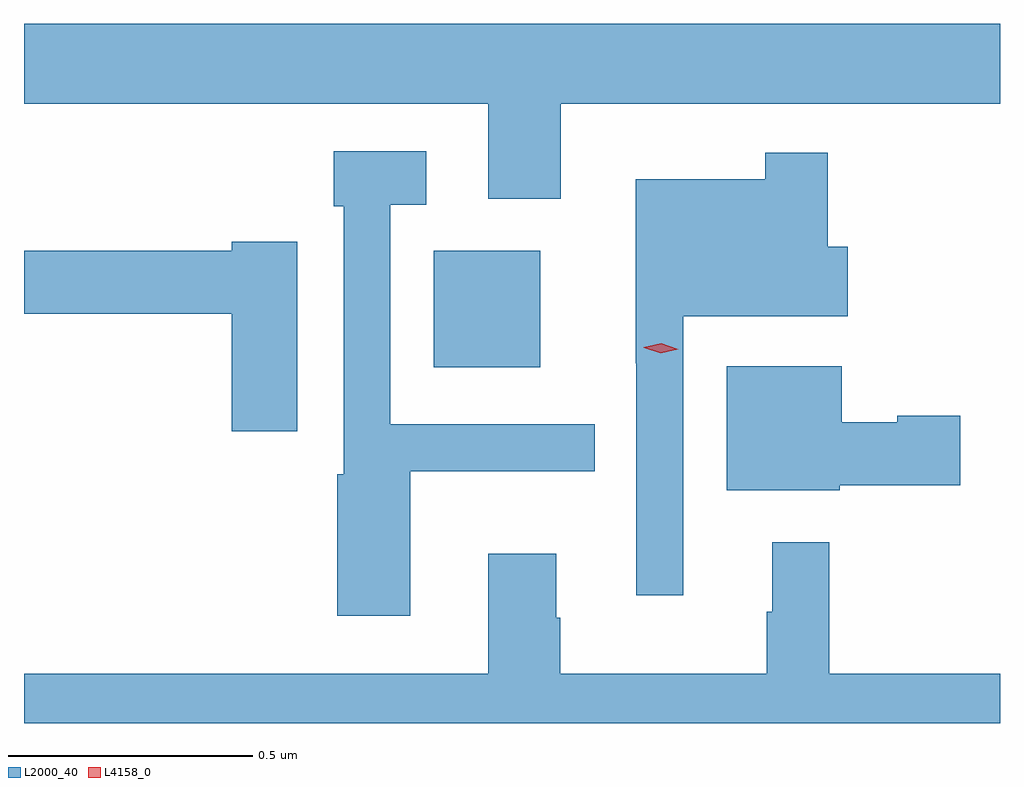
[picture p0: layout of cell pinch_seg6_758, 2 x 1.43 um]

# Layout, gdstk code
import gdstk
lib = gdstk.Library(unit=1e-6, precision=1e-09)
def R(c, l, rs):  # rectangles x0, y0, x1, y1
    for r in rs: c.add(gdstk.rectangle(r[:2], r[2:], *l))
def P(c, l, *ps):  # polygons
    for p in ps: c.add(gdstk.Polygon(p, *l))
L2000_40 = (2000, 40)
L4158_0 = (4158, 0)

pinch_seg6_758 = lib.new_cell('pinch_seg6_758')
R(pinch_seg6_758, L2000_40, [(505.646,945.464,505.864,945.703)])
P(pinch_seg6_758, L2000_40, [(505.906,946.004),(506.806,946.004),(506.806,946.168),(504.806,946.168),(504.806,946.004),(505.757,946.004),(505.757,945.81),(505.906,945.81)],
  [(505.597,945.251),(505.976,945.251),(505.976,945.348),(505.557,945.348),(505.557,945.797),(505.63,945.797),(505.63,945.907),(505.441,945.907),(505.441,945.794),(505.461,945.794),(505.461,945.245),(505.448,945.245),(505.448,944.955),(505.597,944.955)],
  [(506.157,945.569),(506.494,945.569),(506.494,945.711),(506.453,945.711),(506.453,945.904),(506.325,945.904),(506.325,945.85),(506.06,945.85),(506.06,945.473),(506.061,945.473),(506.061,944.997),(506.157,944.997)],
  [(505.366,945.721),(505.232,945.721),(505.232,945.703),(504.806,945.703),(504.806,945.574),(505.232,945.574),(505.232,945.333),(505.366,945.333)],
  [(506.478,945.223),(506.725,945.223),(506.725,945.365),(506.595,945.365),(506.595,945.352),(506.482,945.352),(506.482,945.466),(506.246,945.466),(506.246,945.212),(506.478,945.212)],
  [(506.806,944.836),(506.456,944.836),(506.456,945.106),(506.339,945.106),(506.339,944.963),(506.328,944.963),(506.328,944.836),(505.905,944.836),(505.905,944.951),(505.897,944.951),(505.897,945.082),(505.757,945.082),(505.757,944.836),(504.806,944.836),(504.806,944.735),(506.806,944.735)])
P(pinch_seg6_758, L4158_0, [(506.111,945.493),(506.076,945.504),(506.076,945.505),(506.076,945.505),(506.112,945.513),(506.147,945.501),(506.147,945.501),(506.147,945.501)])

lib.write_gds('pinch_seg6_758.gds')
